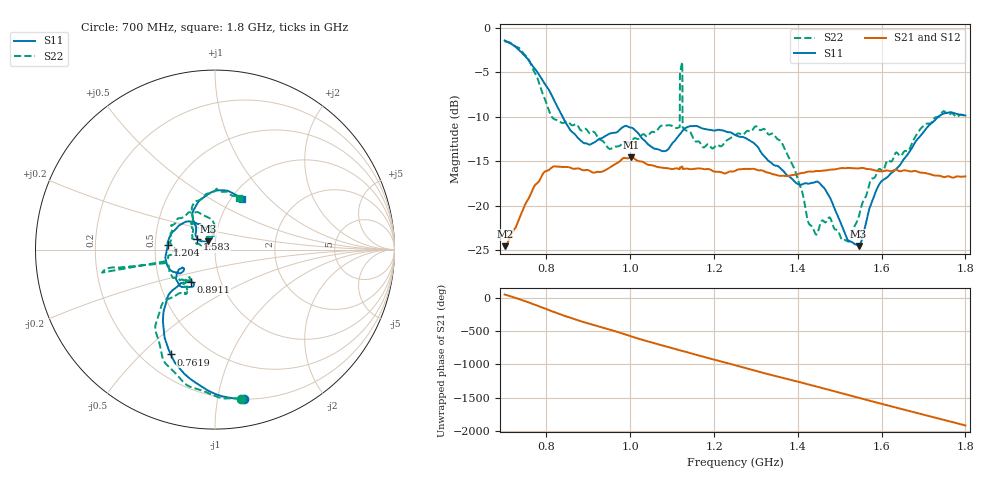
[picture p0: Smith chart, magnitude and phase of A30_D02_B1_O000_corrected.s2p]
! Created with skrf 1.9.0 (http://scikit-rf.org).
# Hz S RI R 50.0
!freq ReS11 ImS11 ReS21 ImS21 ReS12 ImS12 ReS22 ImS22
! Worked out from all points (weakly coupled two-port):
!   1601 points, 700 MHz to 1.8 GHz, reference 50 ohm
!   highest |S21| = -14.57 dB at 1.002 GHz (marker M1); lowest = -24.6 dB at 700.7 MHz (marker M2)
!   lowest |S11| = -24.5 dB at 1.545 GHz (marker M3), VSWR 1.13, Z = 46.3 + j4.32 ohm
!   |S11| at or under -10 dB: 838.3 MHz to 1.735 GHz (896.8 MHz wide, 69.7 % of centre)
!   |S22| runs from -24.1 to -1.5 dB; largest |S21 - S12| = 0.0034
!   S11 on the Smith chart (normalised r, x): 700 MHz: 0.20, -1.19; 761.9 MHz: 0.32, -0.62; 891.1 MHz: 0.72, -0.27; 1.204 GHz: 0.58, +0.03; 1.583 GHz: 0.82, +0.10; 1.8 GHz: 1.12, +0.71
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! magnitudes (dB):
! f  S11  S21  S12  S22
! 700 MHz  -1.4  -24.6  -24.3  -1.5
! 700.7 MHz  -1.4  -24.6  -24.3  -1.5
! 761.9 MHz  -4.0  -18.8  -18.7  -4.0
! 814.1 MHz  -7.7  -15.7  -15.7  -10.1
! 883.6 MHz  -12.8  -16.0  -15.8  -11.6
! 891.1 MHz  -13.0  -16.0  -16.0  -11.3
! 1.002 GHz  -11.2  -14.6  -14.7  -12.8
! 1.067 GHz  -13.7  -15.7  -15.6  -11.3
! 1.113 GHz  -12.3  -15.8  -15.9  -11.3
! 1.122 GHz  -11.8  -15.6  -15.5  -4.2
! 1.13 GHz  -11.3  -15.8  -15.9  -11.5
! 1.204 GHz  -11.5  -16.2  -16.2  -13.3
! 1.25 GHz  -12.0  -16.1  -16.0  -12.1
! 1.359 GHz  -15.8  -16.7  -16.6  -12.8
! 1.434 GHz  -17.4  -16.2  -16.2  -22.4
! 1.476 GHz  -19.0  -16.0  -16.0  -21.3
! 1.519 GHz  -23.9  -15.8  -15.8  -24.0
! 1.545 GHz  -24.5  -15.8  -15.8  -21.3
! 1.583 GHz  -18.8  -16.0  -16.0  -16.9
! 1.617 GHz  -16.6  -16.1  -16.1  -14.9
! 1.737 GHz  -9.9  -16.6  -16.7  -10.0
! 1.8 GHz  -9.9  -16.7  -16.7  -9.9
